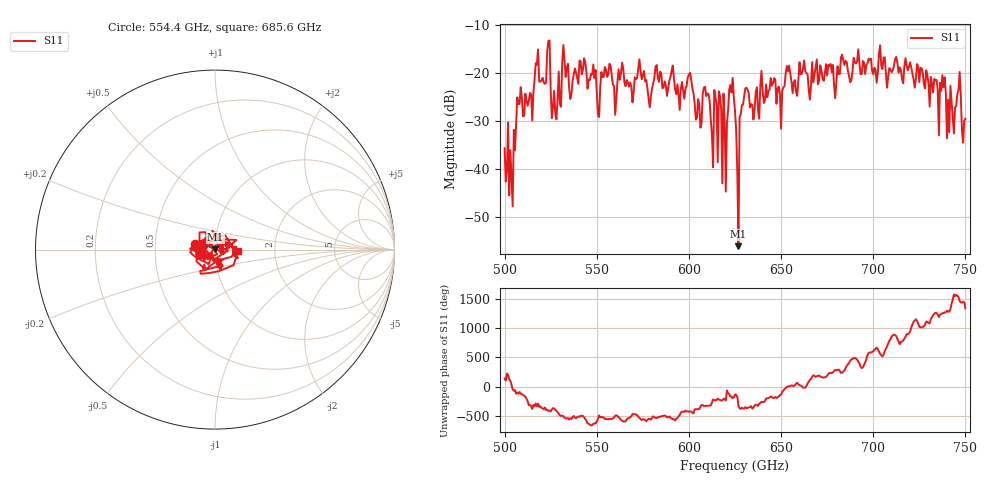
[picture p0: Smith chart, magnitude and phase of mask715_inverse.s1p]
!Created with skrf (http://scikit-rf.org).
# GHz S MA R 50.0
!freq magS11 angS11
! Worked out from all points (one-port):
!   401 points, 500 GHz to 750 GHz, reference 50 ohm
!   lowest |S11| = -56.0 dB at 626.9 GHz (marker M1), VSWR 1.00, Z = 50.1 + j0.0832 ohm
!   |S11| at or under -10 dB: start of sweep to end of sweep
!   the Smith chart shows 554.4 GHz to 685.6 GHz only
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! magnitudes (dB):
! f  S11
! 500 GHz  -35.6
! 503.8 GHz  -42.1
! 508.1 GHz  -26.4
! 513.8 GHz  -24.1
! 517.5 GHz  -18.2
! 523.8 GHz  -13.3
! 526.9 GHz  -23.7
! 531.2 GHz  -17.9
! 542.5 GHz  -19.3
! 551.2 GHz  -29.1
! 562.5 GHz  -21.4
! 593.8 GHz  -22.3
! 600.6 GHz  -19.9
! 605.6 GHz  -26.5
! 609.4 GHz  -24.8
! 619.4 GHz  -29.6
! 622.5 GHz  -22.5
! 625 GHz  -27.8
! 625.6 GHz  -31.9
! 626.9 GHz  -56.0
! 631.2 GHz  -23.0
! 656.2 GHz  -24.1
! 687.5 GHz  -21.9
! 718.8 GHz  -19.4
! 737.5 GHz  -20.4
! 742.5 GHz  -26.0
! 746.2 GHz  -23.5
! 750 GHz  -29.5
